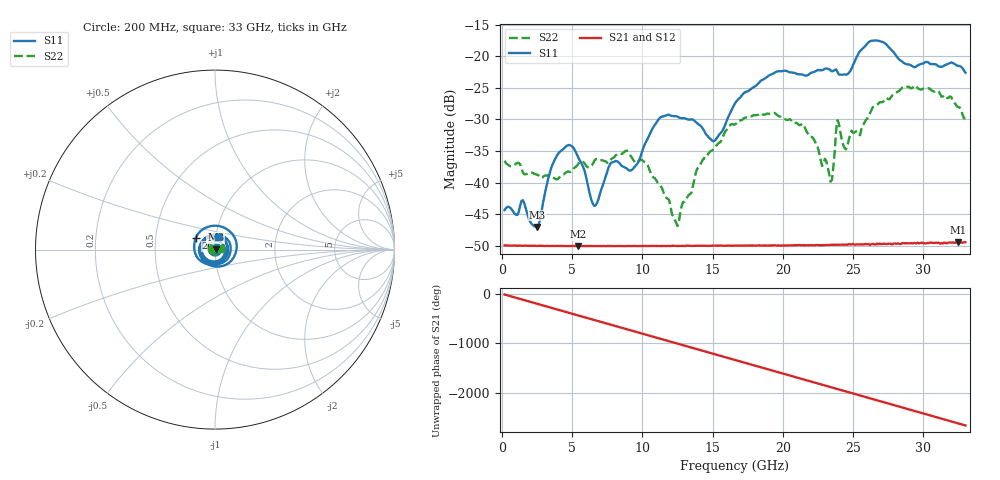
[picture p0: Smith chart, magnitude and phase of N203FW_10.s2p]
# GHZ S RI R 50
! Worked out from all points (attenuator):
!   329 points, 200 MHz to 33 GHz, reference 50 ohm
!   highest |S21| = -49.45 dB at 32.5 GHz (marker M1); lowest = -50.1 dB at 5.4 GHz (marker M2)
!   lowest |S11| = -47.0 dB at 2.5 GHz (marker M3), VSWR 1.01, Z = 50.4 + j0.245 ohm
!   |S11| at or under -10 dB: start of sweep to end of sweep
!   |S22| runs from -46.9 to -24.6 dB; largest |S21 - S12| = 8.8e-05
!   S11 on the Smith chart (normalised r, x): 200 MHz: 1.01, +0.00; 26 GHz: 0.80, +0.11; 33 GHz: 1.03, +0.15
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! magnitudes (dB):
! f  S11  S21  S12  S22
! 200 MHz  -44.4  -50.0  -49.9  -36.5
! 1.5 GHz  -42.8  -50.0  -50.0  -38.4
! 2.5 GHz  -47.0  -50.0  -50.0  -38.7
! 4 GHz  -35.5  -50.0  -50.0  -39.4
! 5.4 GHz  -35.8  -50.1  -50.0  -37.2
! 5.7 GHz  -37.1  -50.1  -50.0  -36.7
! 6.6 GHz  -43.7  -50.1  -50.1  -36.5
! 7.7 GHz  -37.1  -50.0  -50.1  -36.6
! 8.9 GHz  -37.8  -50.0  -50.1  -34.9
! 11.2 GHz  -29.9  -50.1  -50.0  -40.3
! 12.5 GHz  -29.5  -50.0  -50.0  -46.9
! 15.1 GHz  -33.4  -50.0  -50.0  -34.6
! 16.6 GHz  -27.5  -50.0  -50.0  -30.8
! 19.4 GHz  -22.6  -50.0  -50.0  -29.0
! 22.1 GHz  -22.6  -49.9  -49.9  -32.8
! 23.4 GHz  -22.2  -49.8  -49.9  -39.9
! 23.9 GHz  -22.5  -49.9  -49.9  -30.1
! 24.5 GHz  -22.9  -49.8  -49.8  -34.7
! 26 GHz  -18.0  -49.8  -49.7  -29.9
! 27.6 GHz  -18.7  -49.7  -49.7  -26.8
! 32.5 GHz  -21.5  -49.4  -49.4  -28.0
! 33 GHz  -22.6  -49.5  -49.5  -29.8
